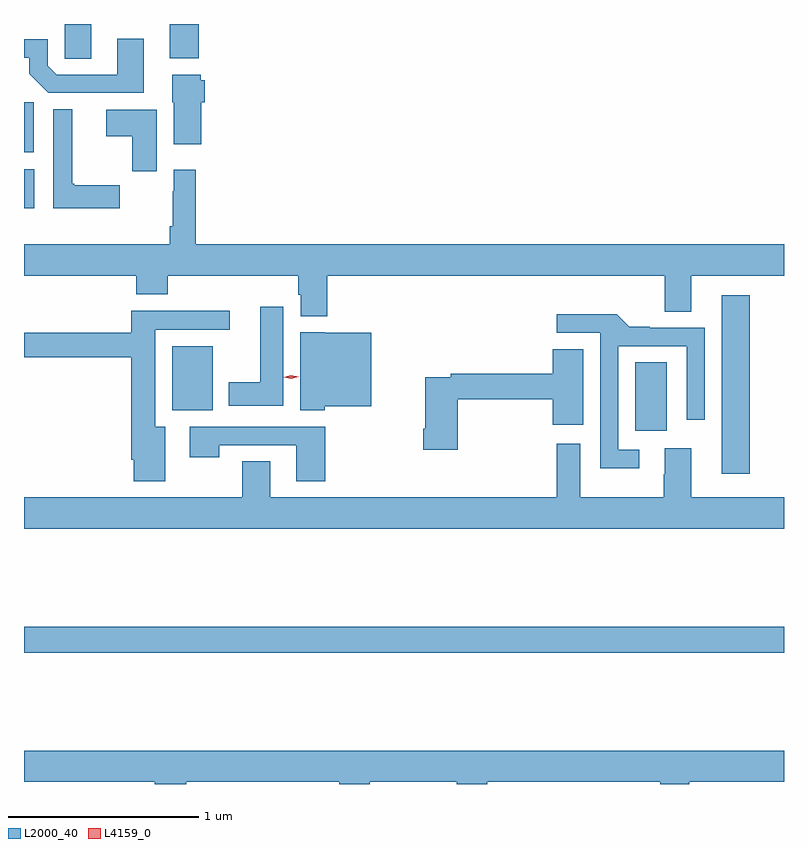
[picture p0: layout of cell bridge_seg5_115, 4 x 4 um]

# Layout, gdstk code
import gdstk
lib = gdstk.Library(unit=1e-6, precision=1e-09)
def R(c, l, rs):  # rectangles x0, y0, x1, y1
    for r in rs: c.add(gdstk.rectangle(r[:2], r[2:], *l))
def P(c, l, *ps):  # polygons
    for p in ps: c.add(gdstk.Polygon(p, *l))
L2000_40 = (2000, 40)
L4159_0 = (4159, 0)

bridge_seg5_115 = lib.new_cell('bridge_seg5_115')
R(bridge_seg5_115, L2000_40, [(375.685,842.788,379.685,842.924), (379.358,843.729,379.505,844.669), (378.902,843.954,379.069,844.316), (376.466,844.064,376.678,844.399), (375.685,845.126,375.739,845.332), (375.685,845.42,375.736,845.684), (375.9,845.914,376.039,846.096), (376.451,845.915,376.604,846.096)])
P(bridge_seg5_115, L2000_40, [(376.315,846.019),(376.175,846.019),(376.175,845.829),(375.858,845.829),(375.81,845.877),(375.81,846.015),(375.685,846.015),(375.685,845.919),(375.712,845.919),(375.712,845.835),(375.813,845.733),(376.315,845.733)],
  [(376.619,845.685),(376.637,845.685),(376.637,845.799),(376.615,845.799),(376.615,845.83),(376.466,845.83),(376.466,845.685),(376.472,845.685),(376.472,845.463),(376.619,845.463)],
  [(376.189,845.248),(375.949,845.248),(375.949,845.256),(375.938,845.256),(375.938,845.648),(375.84,845.648),(375.84,845.126),(376.189,845.126)],
  [(376.384,845.644),(376.119,845.644),(376.119,845.504),(376.255,845.504),(376.255,845.322),(376.384,845.322)],
  [(377.282,844.772),(379.058,844.772),(379.058,844.582),(379.198,844.582),(379.198,844.772),(379.685,844.772),(379.685,844.936),(376.589,844.936),(376.589,845.329),(376.473,845.329),(376.473,845.216),(376.468,845.216),(376.468,845.032),(376.453,845.032),(376.453,844.936),(375.685,844.936),(375.685,844.772),(376.277,844.772),(376.277,844.673),(376.442,844.673),(376.442,844.772),(377.129,844.772),(377.129,844.671),(377.141,844.671),(377.141,844.559),(377.282,844.559)],
  [(377.05,844.609),(376.928,844.609),(376.928,844.21),(376.763,844.21),(376.763,844.088),(377.05,844.088)],
  [(376.429,843.976),(376.375,843.976),(376.375,844.488),(376.768,844.488),(376.768,844.586),(376.25,844.586),(376.25,844.471),(375.685,844.471),(375.685,844.342),(376.25,844.342),(376.25,843.802),(376.262,843.802),(376.262,843.69),(376.429,843.69)],
  [(378.922,843.855),(378.813,843.855),(378.813,844.401),(379.173,844.401),(379.173,844.014),(379.269,844.014),(379.269,844.497),(378.979,844.497),(378.979,844.502),(378.871,844.502),(378.806,844.568),(378.489,844.568),(378.489,844.47),(378.717,844.47),(378.717,843.758),(378.922,843.758)],
  [(377.268,844.085),(377.512,844.085),(377.512,844.471),(377.268,844.471),(377.268,844.474),(377.138,844.474),(377.138,844.064),(377.268,844.064)],
  [(377.969,844.12),(378.467,844.12),(378.467,843.987),(378.628,843.987),(378.628,844.385),(378.467,844.385),(378.467,844.256),(377.932,844.256),(377.932,844.236),(377.798,844.236),(377.798,843.967),(377.786,843.967),(377.786,843.855),(377.969,843.855)],
  [(377.27,843.975),(376.557,843.975),(376.557,843.816),(376.713,843.816),(376.713,843.879),(377.117,843.879),(377.117,843.69),(377.27,843.69)],
  [(379.685,843.604),(379.198,843.604),(379.198,843.862),(379.058,843.862),(379.058,843.725),(379.051,843.725),(379.051,843.604),(378.613,843.604),(378.613,843.886),(378.488,843.886),(378.488,843.604),(376.981,843.604),(376.981,843.794),(376.834,843.794),(376.834,843.604),(375.685,843.604),(375.685,843.44),(379.685,843.44)],
  [(376.538,842.108),(377.345,842.108),(377.345,842.096),(377.505,842.096),(377.505,842.108),(377.962,842.108),(377.962,842.096),(378.122,842.096),(378.122,842.108),(379.034,842.108),(379.034,842.096),(379.186,842.096),(379.186,842.108),(379.685,842.108),(379.685,842.272),(375.685,842.272),(375.685,842.108),(376.373,842.108),(376.373,842.096),(376.538,842.096)])
P(bridge_seg5_115, L4159_0, [(377.091,844.228),(377.051,844.236),(377.051,844.237),(377.051,844.237),(377.09,844.248),(377.13,844.239),(377.13,844.239),(377.13,844.239)])

lib.write_gds('bridge_seg5_115.gds')
